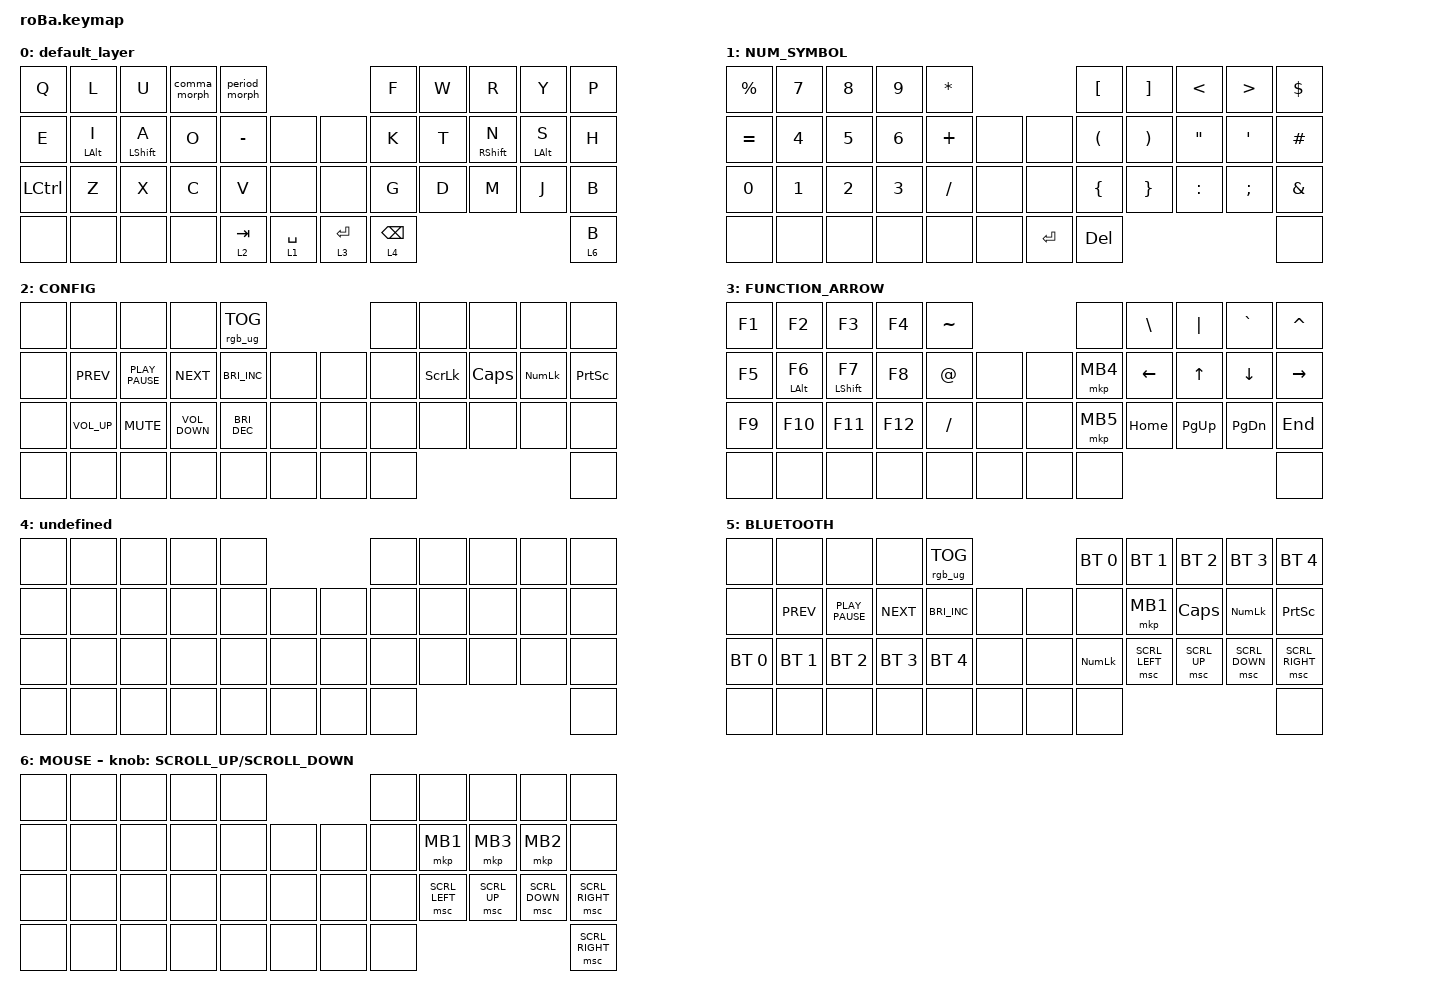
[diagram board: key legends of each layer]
#include <behaviors.dtsi>
#include <dt-bindings/zmk/bt.h>
#include <dt-bindings/zmk/keys.h>
#include <dt-bindings/zmk/pointing.h>
#include <dt-bindings/zmk/rgb.h>

&mt {
    flavor = "balanced";
    quick-tap-ms = <0>;
};

&trackball {
    scroll-layers = <5>;

    // arrows {
    //     layers = <3>;
    //     bindings =
    //         <&kp RIGHT_ARROW>,
    //         <&kp LEFT_ARROW>,
    //         <&kp UP_ARROW>,
    //         <&kp DOWN_ARROW>;
    //     tick = <10>;
    //     wait-ms = <5>;
    //     tap-ms = <5>;
    // };
};

/ {
    combos {
        compatible = "zmk,combos";

        ESCL {
            bindings = <&kp ESCAPE>;
            key-positions = <2 3>;
        };

        ESCR {
            bindings = <&kp ESCAPE>;
            key-positions = <6 7>;
        };

        WINL {
            bindings = <&kp LEFT_WIN>;
            key-positions = <13 12>;
        };

        WINR {
            bindings = <&kp RIGHT_WIN>;
            key-positions = <18 19>;
        };

        ALPHA {
            bindings = <&kp LANGUAGE_2>;
            key-positions = <24 25>;
        };

        KANA {
            bindings = <&kp LANGUAGE_1>;
            key-positions = <30 31>;
        };

        Lay {
            bindings = <&mo 5>;
            key-positions = <40 39>;
        };
    };

    macros {
        to_layer_0: to_layer_0 {
            compatible = "zmk,behavior-macro-one-param";
            #binding-cells = <1>;
            bindings = <&to 0 &macro_param_1to1 &kp MACRO_PLACEHOLDER>;
            label = "TO_LAYER_0";
        };
    };

    behaviors {
        lt_to_layer_0: lt_to_layer_0 {
            compatible = "zmk,behavior-hold-tap";
            label = "LAYER_TAP_TO_0";
            bindings = <&mo>, <&to_layer_0>;

            #binding-cells = <2>;
            tapping-term-ms = <200>;
        };

        comma_morph: comma_morph {
            compatible = "zmk,behavior-mod-morph";
            label = "COMMA_MORPH";
            bindings = <&kp COMMA>, <&kp EXCL>;

            #binding-cells = <0>;
            mods = <(MOD_LSFT|MOD_RSFT)>;
        };

        period_morph: period_morph {
            compatible = "zmk,behavior-mod-morph";
            label = "PERIOD_MORPH";
            bindings = <&kp PERIOD>, <&kp QUESTION>;

            #binding-cells = <0>;
            mods = <(MOD_LSFT|MOD_RSFT)>;
        };
    };

    keymap {
        compatible = "zmk,keymap";

        default_layer {
            bindings = <
&kp Q             &kp L       &kp U         &comma_morph  &period_morph                                &kp F            &kp W  &kp R              &kp Y           &kp P
&kp E             &mt LALT I  &mt LSHIFT A  &kp O         &kp MINUS      &none            &none        &kp K            &kp T  &mt RIGHT_SHIFT N  &mt LEFT_ALT S  &kp H
&kp LEFT_CONTROL  &kp Z       &kp X         &kp C         &kp V          &none            &none        &kp G            &kp D  &kp M              &kp J           &kp B
&none             &none       &none         &none         &lt 2 TAB      &lt 1 SPACE      &lt 3 ENTER  &lt 4 BACKSPACE                                            &lt 6 B
            >;
        };

        NUM_SYMBOL {
            bindings = <
&kp PERCENT   &kp NUMBER_7  &kp NUMBER_8  &kp NUMBER_9  &kp ASTERISK                        &kp LEFT_BRACKET      &kp RIGHT_BRACKET      &kp LESS_THAN      &kp GREATER_THAN  &kp DOLLAR
&kp EQUAL     &kp NUMBER_4  &kp NUMBER_5  &kp NUMBER_6  &kp PLUS      &none      &none      &kp LEFT_PARENTHESIS  &kp RIGHT_PARENTHESIS  &kp DOUBLE_QUOTES  &kp SINGLE_QUOTE  &kp HASH
&kp NUMBER_0  &kp NUMBER_1  &kp NUMBER_2  &kp NUMBER_3  &kp SLASH     &none      &none      &kp LEFT_BRACE        &kp RIGHT_BRACE        &kp COLON          &kp SEMICOLON     &kp AMPERSAND
&none         &none         &none         &none         &none         &none      &kp ENTER  &kp DELETE                                                                        &none
            >;
        };

        CONFIG {
            bindings = <
&none  &none            &none             &none              &rgb_ug RGB_TOG                         &none  &none           &none     &none           &none
&none  &kp K_PREV       &kp K_PLAY_PAUSE  &kp K_NEXT         &kp C_BRIGHTNESS_INC  &none      &none  &none  &kp SCROLLLOCK  &kp CAPS  &kp KP_NUMLOCK  &kp PRINTSCREEN
&none  &kp C_VOLUME_UP  &kp K_MUTE        &kp C_VOLUME_DOWN  &kp C_BRIGHTNESS_DEC  &none      &none  &none  &none           &none     &none           &none
&none  &none            &none             &none              &none                 &none      &none  &none                                            &none
            >;
        };

        FUNCTION_ARROW {
            bindings = <
&kp F1  &kp F2           &kp F3             &kp F4   &kp TILDE                    &none     &kp BACKSLASH  &kp PIPE      &kp GRAVE       &kp CARET
&kp F5  &mt LEFT_ALT F6  &mt LEFT_SHIFT F7  &kp F8   &kp AT     &none      &none  &mkp MB4  &kp LEFT       &kp UP_ARROW  &kp DOWN_ARROW  &kp RIGHT_ARROW
&kp F9  &kp F10          &kp F11            &kp F12  &kp SLASH  &none      &none  &mkp MB5  &kp HOME       &kp PAGE_UP   &kp PAGE_DOWN   &kp END
&none   &none            &none              &none    &none      &none      &none  &none                                                  &none
            >;
        };

        undefined {
            bindings = <
&none  &none  &none  &none  &none                    &none  &none  &none  &none  &none
&none  &none  &none  &none  &none  &none      &none  &none  &none  &none  &none  &none
&none  &none  &none  &none  &none  &none      &none  &none  &none  &none  &none  &none
&none  &none  &none  &none  &none  &none      &none  &none                       &none
            >;
        };

        BLUETOOTH {
            bindings = <
&none         &none         &none             &none         &rgb_ug RGB_TOG                         &bt BT_SEL 0    &bt BT_SEL 1    &bt BT_SEL 2  &bt BT_SEL 3    &bt BT_SEL 4
&none         &kp K_PREV    &kp K_PLAY_PAUSE  &kp K_NEXT    &kp C_BRIGHTNESS_INC  &none      &none  &none           &mkp MB1        &kp CAPS      &kp KP_NUMLOCK  &kp PRINTSCREEN
&bt BT_SEL 0  &bt BT_SEL 1  &bt BT_SEL 2      &bt BT_SEL 3  &bt BT_SEL 4          &none      &none  &kp KP_NUMLOCK  &msc SCRL_LEFT  &msc SCRL_UP  &msc SCRL_DOWN  &msc SCRL_RIGHT
&none         &none         &none             &none         &none                 &none      &none  &none                                                         &none
            >;
        };

        MOUSE {
            bindings = <
&none  &none  &none  &none  &none                    &none  &none           &none         &none           &none
&none  &none  &none  &none  &none  &none      &none  &none  &mkp MB1        &mkp MB3      &mkp MB2        &none
&none  &none  &none  &none  &none  &none      &none  &none  &msc SCRL_LEFT  &msc SCRL_UP  &msc SCRL_DOWN  &msc SCRL_RIGHT
&none  &none  &none  &none  &none  &none      &none  &none                                                &msc SCRL_RIGHT
            >;

            sensor-bindings = <&inc_dec_kp K_SCROLL_UP K_SCROLL_DOWN>;
        };
    };
};
